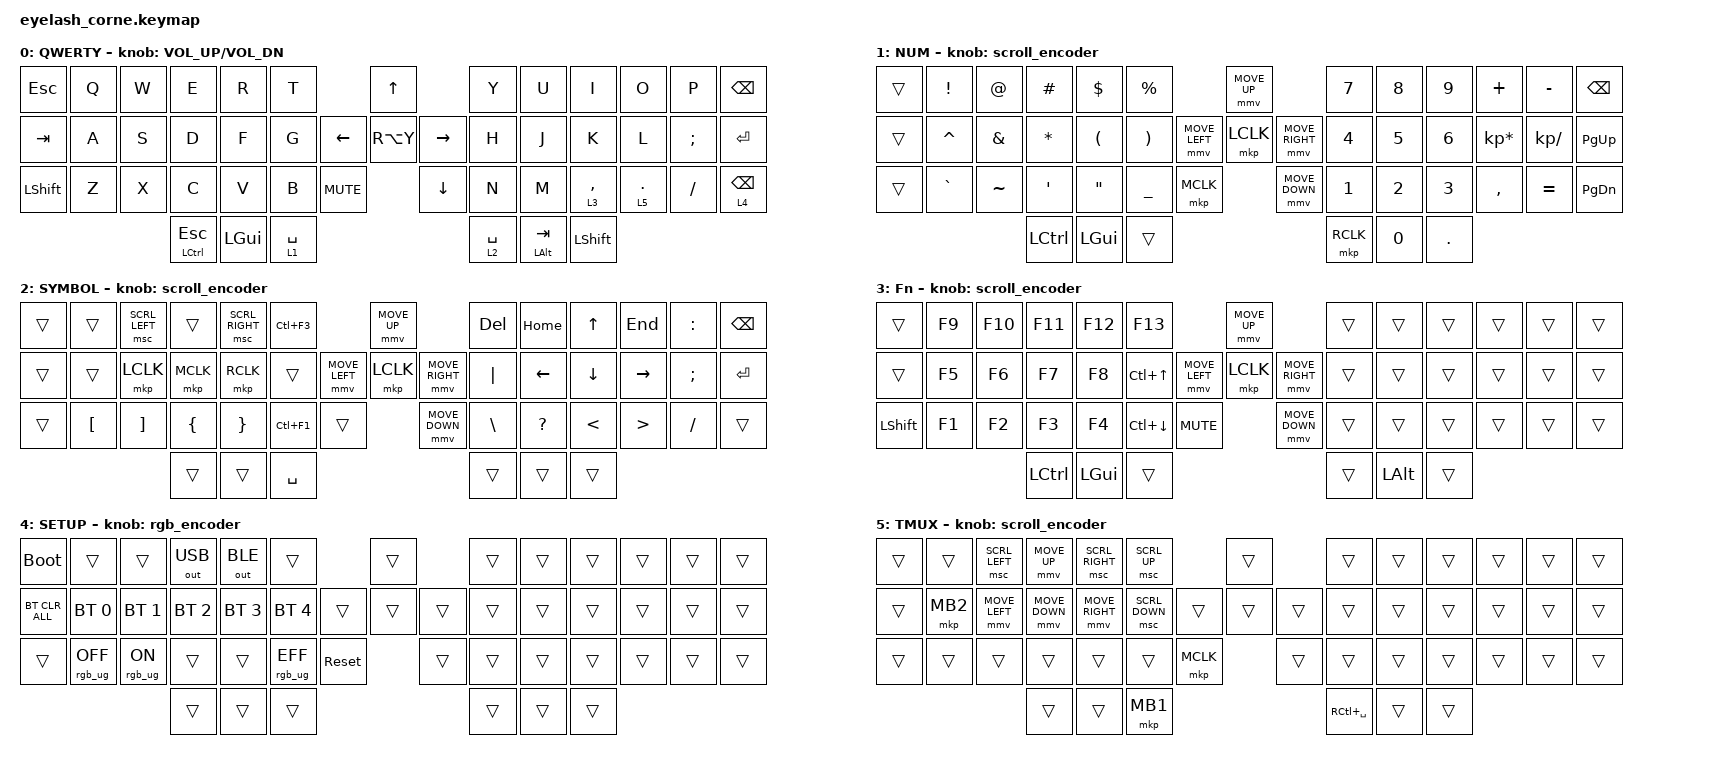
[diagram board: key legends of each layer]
#define ZMK_POINTING_DEFAULT_MOVE_VAL 1200  // 600
#define ZMK_POINTING_DEFAULT_SCRL_VAL 25   // 10

#include <input/processors.dtsi>
#include <zephyr/dt-bindings/input/input-event-codes.h>
#include <behaviors.dtsi>
#include <dt-bindings/zmk/bt.h>
#include <dt-bindings/zmk/keys.h>
#include <dt-bindings/zmk/outputs.h>
#include <dt-bindings/zmk/pointing.h>
#include <dt-bindings/zmk/rgb.h>

&mmv_input_listener { input-processors = <&zip_xy_scaler 2 1>; };

&msc_input_listener { input-processors = <&zip_scroll_scaler 2 1>; };

&msc {
    acceleration-exponent = <1>;      // 0
    time-to-max-speed-ms = <100>;       // 300
    delay-ms = <0>;                   // 0
};

&mmv {
    time-to-max-speed-ms = <500>;
    acceleration-exponent = <1>;
    trigger-period-ms = <16>;
};

&soft_off { hold-time-ms = <2000>; };

/ {
    behaviors {
        td0: td0 {
            compatible = "zmk,behavior-tap-dance";
            display-name = "Shift/Caps Lock Tap Dance";
            #binding-cells = <0>;
            bindings = <&kp LEFT_SHIFT>, <&kp CAPS>;
        };
    };

    rgb_encoder: rgb_encoder {
        compatible = "zmk,behavior-sensor-rotate";
        #sensor-binding-cells = <0>;
        bindings = <&rgb_ug RGB_BRI>, <&rgb_ug RGB_BRD>;
    };

    scroll_encoder: scroll_encoder {
        compatible = "zmk,behavior-sensor-rotate";
        #sensor-binding-cells = <0>;
        bindings = <&msc SCRL_DOWN>, <&msc SCRL_UP>;

        tap-ms = <100>;
    };

    combos {
        compatible = "zmk,combos";

        softoff {
            bindings = <&soft_off>;
            key-positions = <1 15 29>;
        };

        screen {
            bindings = <&kp LC(F1)>;
            key-positions = <30 31 32>;
        };
    };

    keymap {
        compatible = "zmk,keymap";

        default_layer {
            display-name = "QWERTY";
            bindings = <
&kp ESC         &kp Q  &kp W  &kp E          &kp R         &kp T                                &kp UP                &kp Y        &kp U             &kp I           &kp O      &kp P     &kp BSPC
&kp TAB         &kp A  &kp S  &kp D          &kp F         &kp G                      &kp LEFT  &kp RA(Y)  &kp RIGHT  &kp H        &kp J             &kp K           &kp L      &kp SEMI  &kp ENTER
&kp LEFT_SHIFT  &kp Z  &kp X  &kp C          &kp V         &kp B        &kp K_MUTE              &kp DOWN              &kp N        &kp M             &lt 3 COMMA     &lt 5 DOT  &kp FSLH  &lt 4 BACKSPACE
                              &mt LCTRL ESC  &kp LEFT_GUI  &lt 1 SPACE                                                &lt 2 SPACE  &mt LEFT_ALT TAB  &kp LEFT_SHIFT
            >;

            sensor-bindings = <&inc_dec_kp C_VOLUME_UP C_VOL_DN>;
        };

        lower_layer {
            display-name = "NUM";
            bindings = <
&trans  &kp EXCLAMATION  &kp AT_SIGN    &kp HASH      &kp DOLLAR            &kp PERCENT                                         &mmv MOVE_UP                     &kp N7     &kp N8  &kp N9   &kp PLUS         &kp MINUS      &kp BSPC
&trans  &kp CARET        &kp AMPERSAND  &kp ASTERISK  &kp LEFT_PARENTHESIS  &kp RIGHT_PARENTHESIS               &mmv MOVE_LEFT  &mkp LCLK       &mmv MOVE_RIGHT  &kp N4     &kp N5  &kp N6   &kp KP_ASTERISK  &kp KP_DIVIDE  &kp PG_UP
&trans  &kp GRAVE        &kp TILDE      &kp SQT       &kp DOUBLE_QUOTES     &kp UNDERSCORE         &mkp MCLK                    &mmv MOVE_DOWN                   &kp N1     &kp N2  &kp N3   &kp COMMA        &kp EQUAL      &kp PG_DN
                                        &kp LCTRL     &kp LEFT_GUI          &trans                                                                               &mkp RCLK  &kp N0  &kp DOT
            >;

            sensor-bindings = <&scroll_encoder>;
        };

        raise_layer {
            display-name = "SYMBOL";
            bindings = <
&trans  &trans            &msc SCRL_LEFT     &trans          &msc SCRL_RIGHT  &kp LC(F3)                            &mmv MOVE_UP                     &kp DEL        &kp HOME      &kp UP         &kp END           &kp COLON      &kp BSPC
&trans  &trans            &mkp LCLK          &mkp MCLK       &mkp RCLK        &trans                &mmv MOVE_LEFT  &mkp LCLK       &mmv MOVE_RIGHT  &kp PIPE       &kp LEFT      &kp DOWN       &kp RIGHT         &kp SEMICOLON  &kp ENTER
&trans  &kp LEFT_BRACKET  &kp RIGHT_BRACKET  &kp LEFT_BRACE  &kp RIGHT_BRACE  &kp LC(F1)  &trans                    &mmv MOVE_DOWN                   &kp BACKSLASH  &kp QUESTION  &kp LESS_THAN  &kp GREATER_THAN  &kp SLASH      &trans
                                             &trans          &trans           &kp SPACE                                                              &trans         &trans        &trans
            >;

            sensor-bindings = <&scroll_encoder>;
        };

        layer_3 {
            display-name = "Fn";
            bindings = <
&trans          &kp F9  &kp F10  &kp F11    &kp F12       &kp F13                                     &mmv MOVE_UP                     &trans  &trans        &trans  &trans  &trans  &trans
&trans          &kp F5  &kp F6   &kp F7     &kp F8        &kp LC(UP)                  &mmv MOVE_LEFT  &mkp LCLK       &mmv MOVE_RIGHT  &trans  &trans        &trans  &trans  &trans  &trans
&kp LEFT_SHIFT  &kp F1  &kp F2   &kp F3     &kp F4        &kp LC(DOWN)  &kp C_MUTE                    &mmv MOVE_DOWN                   &trans  &trans        &trans  &trans  &trans  &trans
                                 &kp LCTRL  &kp LEFT_GUI  &trans                                                                       &trans  &kp LEFT_ALT  &trans
            >;

            sensor-bindings = <&scroll_encoder>;
        };

        setup {
            bindings = <
&bootloader     &trans           &trans          &out OUT_USB  &out OUT_BLE  &trans                                 &trans          &trans  &trans  &trans  &trans  &trans  &trans
&bt BT_CLR_ALL  &bt BT_SEL 0     &bt BT_SEL 1    &bt BT_SEL 2  &bt BT_SEL 3  &bt BT_SEL 4                   &trans  &trans  &trans  &trans  &trans  &trans  &trans  &trans  &trans
&trans          &rgb_ug RGB_OFF  &rgb_ug RGB_ON  &trans        &trans        &rgb_ug RGB_EFF  &sys_reset            &trans          &trans  &trans  &trans  &trans  &trans  &trans
                                                 &trans        &trans        &trans                                                 &trans  &trans  &trans
            >;

            sensor-bindings = <&rgb_encoder>;
            label = "SETUP";
        };

        layer_5 {
            bindings = <
&trans  &trans    &msc SCRL_LEFT  &mmv MOVE_UP    &msc SCRL_RIGHT  &msc SCRL_UP                         &trans          &trans         &trans  &trans  &trans  &trans  &trans
&trans  &mkp MB2  &mmv MOVE_LEFT  &mmv MOVE_DOWN  &mmv MOVE_RIGHT  &msc SCRL_DOWN               &trans  &trans  &trans  &trans         &trans  &trans  &trans  &trans  &trans
&trans  &trans    &trans          &trans          &trans           &trans          &mkp MCLK            &trans          &trans         &trans  &trans  &trans  &trans  &trans
                                  &trans          &trans           &mkp MB1                                             &kp RC(SPACE)  &trans  &trans
            >;

            label = "TMUX";
            sensor-bindings = <&scroll_encoder>;
        };
    };
};
